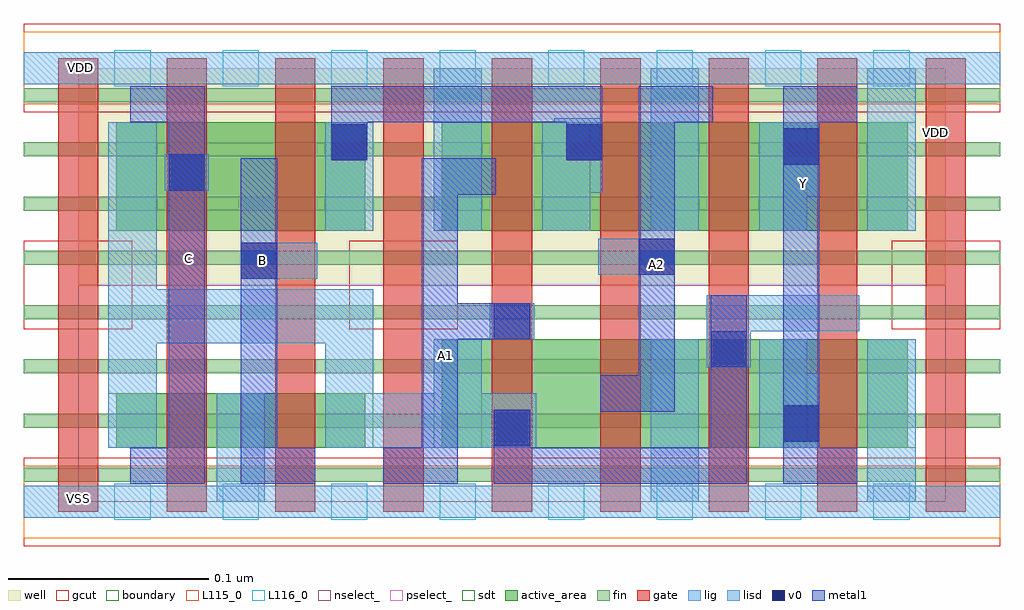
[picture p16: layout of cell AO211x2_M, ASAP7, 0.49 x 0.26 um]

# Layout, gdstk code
import gdstk
lib = gdstk.Library(unit=1e-6, precision=2.5e-10)
def R(c, l, rs):  # rectangles x0, y0, x1, y1
    for r in rs: c.add(gdstk.rectangle(r[:2], r[2:], *l))
def A(c, l, x, y, w, h, nx, ny, dx, dy):  # array of equal rectangles
    R(c, l, [(x+i*dx, y+j*dy, x+i*dx+w, y+j*dy+h) for i in range(nx) for j in range(ny)])
def P(c, l, *ps):  # polygons
    for p in ps: c.add(gdstk.Polygon(p, *l))
well = (1, 0)
fin = (2, 0)
gate = (7, 0)
gcut = (10, 0)
active_area = (11, 0)
nselect_ = (12, 0)
pselect_ = (13, 0)
lig = (16, 0)
lisd = (17, 0)
v0 = (18, 0)
metal1 = (19, 0)
sdt = (88, 0)
boundary = (100, 0)
L115_0 = (115, 0)
L116_0 = (116, 0)

ao211x2_m = lib.new_cell('AO211x2_M')
R(ao211x2_m, well, [(0,0.108,0.432,0.216)])
A(ao211x2_m, fin, -0.027, 0.01, 0.486, 0.007, 1, 8, 0, 0.027)
A(ao211x2_m, gate, -0.01, -0.005, 0.02, 0.226, 9, 1, 0.054, 0)
R(ao211x2_m, gate, [(0.422,-0.005,0.442,0.221), (0.422,-0.005,0.442,0.221)])
R(ao211x2_m, gcut, [(-0.027,-0.022,0.459,0.022), (-0.027,0.086,0.027,0.13), (0.135,0.086,0.189,0.13), (0.405,0.086,0.459,0.13), (-0.027,0.194,0.459,0.238)])
R(ao211x2_m, active_area, [(0.019,0.027,0.143,0.054), (0.181,0.027,0.413,0.081), (0.019,0.135,0.143,0.189), (0.181,0.135,0.413,0.189)])
R(ao211x2_m, nselect_, [(0,0,0.432,0.108)])
R(ao211x2_m, pselect_, [(0,0.108,0.432,0.216)])
R(ao211x2_m, lig, [(-0.027,-0.008,0.459,0.008), (0.313,0.067,0.335,0.085), (0.205,0.081,0.227,0.099), (0.313,0.085,0.389,0.103), (0.081,0.111,0.119,0.129), (0.259,0.113,0.297,0.131), (0.043,0.155,0.065,0.173), (-0.027,0.208,0.459,0.224)])
A(ao211x2_m, lisd, 0.177, 0.135, 0.024, 0.081, 3, 1, 0.108, 0)
R(ao211x2_m, lisd, [(0.069,0,0.093,0.054), (0.285,0,0.309,0.081), (0.393,0,0.417,0.081), (0.015,0.027,0.039,0.135), (0.123,0.027,0.228,0.054), (0.123,0.027,0.147,0.079), (0.177,0.027,0.201,0.081), (0.339,0.027,0.363,0.081), (0.339,0.027,0.369,0.064), (0.039,0.079,0.147,0.106), (0.015,0.135,0.039,0.189), (0.123,0.135,0.147,0.189), (0.339,0.135,0.363,0.189), (0.339,0.152,0.369,0.189)])
P(ao211x2_m, lisd, [(0.261,0.191),(0.237,0.191),(0.237,0.189),(0.231,0.189),(0.231,0.135),(0.255,0.135),(0.255,0.154),(0.261,0.154)])
R(ao211x2_m, v0, [(0.207,0.028,0.225,0.046), (0.351,0.03,0.369,0.048), (0.315,0.067,0.333,0.085), (0.207,0.081,0.225,0.099), (0.081,0.111,0.099,0.129), (0.279,0.113,0.297,0.131), (0.045,0.155,0.063,0.173), (0.351,0.168,0.369,0.186), (0.126,0.17,0.144,0.188), (0.243,0.17,0.261,0.188)])
R(ao211x2_m, metal1, [(0.026,0.009,0.063,0.027), (0.045,0.009,0.063,0.207), (0.081,0.009,0.118,0.027), (0.081,0.009,0.099,0.171), (0.152,0.009,0.189,0.027), (0.171,0.009,0.189,0.171), (0.207,0.009,0.225,0.046), (0.207,0.009,0.333,0.027), (0.315,0.009,0.333,0.103), (0.351,0.009,0.388,0.027), (0.351,0.009,0.369,0.207), (0.26,0.045,0.297,0.063), (0.279,0.045,0.297,0.207), (0.171,0.081,0.225,0.099), (0.171,0.153,0.208,0.171), (0.126,0.17,0.144,0.207), (0.243,0.17,0.261,0.207), (0.026,0.189,0.063,0.207), (0.126,0.189,0.261,0.207), (0.279,0.189,0.316,0.207), (0.351,0.189,0.388,0.207)])
A(ao211x2_m, sdt, 0.015, 0.027, 0.024, 0.027, 3, 1, 0.054, 0)
A(ao211x2_m, sdt, 0.285, 0.027, 0.024, 0.054, 3, 1, 0.054, 0)
A(ao211x2_m, sdt, 0.123, 0.135, 0.024, 0.054, 6, 1, 0.054, 0)
R(ao211x2_m, sdt, [(0.177,0.027,0.201,0.081), (0.015,0.135,0.039,0.189)])
R(ao211x2_m, boundary, [(0,0,0.432,0.216)])
R(ao211x2_m, L115_0, [(-0.027,-0.018,0.459,0.018), (-0.027,0.198,0.459,0.234)])
A(ao211x2_m, L116_0, 0.018, -0.009, 0.018, 0.018, 8, 2, 0.054, 0.216)
ao211x2_m.add(gdstk.Label('VSS', (0.473,0.183), layer=3, texttype=251))
ao211x2_m.add(gdstk.Label('VDD', (0.427,0.184), layer=1, texttype=251))
ao211x2_m.add(gdstk.Label('A1', (0.183,0.073), layer=19, texttype=251))
ao211x2_m.add(gdstk.Label('Y', (0.361,0.1585), layer=19, texttype=251))
ao211x2_m.add(gdstk.Label('A2', (0.288,0.118), layer=19, texttype=251))
ao211x2_m.add(gdstk.Label('B', (0.092,0.12), layer=19, texttype=251))
ao211x2_m.add(gdstk.Label('C', (0.055,0.121), layer=19, texttype=251))
ao211x2_m.add(gdstk.Label('VSS', (0,0.0015), layer=115, texttype=251))
ao211x2_m.add(gdstk.Label('VDD', (0.001,0.2165), layer=115, texttype=251))

lib.write_gds('AO211x2_M.gds')
